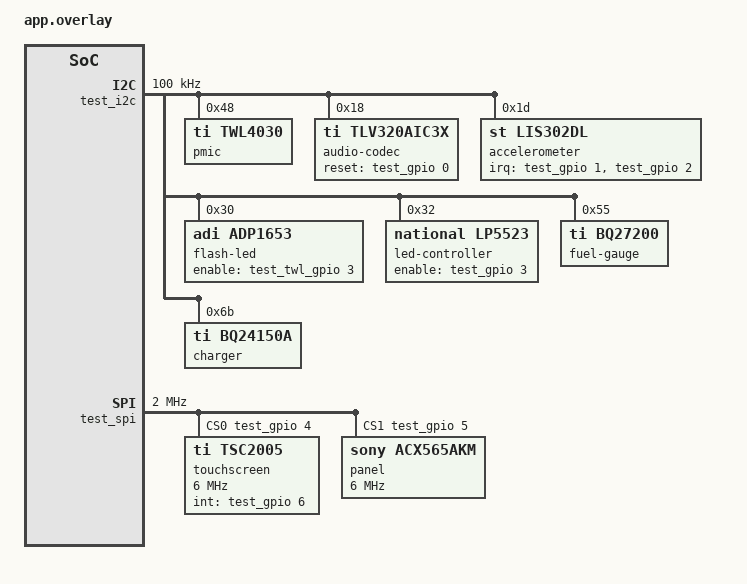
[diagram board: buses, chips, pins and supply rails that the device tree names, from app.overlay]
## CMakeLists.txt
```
# Copyright The Zephyr Project Contributors
# SPDX-License-Identifier: Apache-2.0

cmake_minimum_required(VERSION 3.20.0)
find_package(Zephyr REQUIRED HINTS $ENV{ZEPHYR_BASE})
project(n900_build_all)

target_sources(app PRIVATE src/main.c)
```

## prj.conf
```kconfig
CONFIG_TEST=y
CONFIG_GPIO=y
CONFIG_I2C=y
CONFIG_SPI=y
CONFIG_SENSOR=y
CONFIG_LED=y
CONFIG_DISPLAY=y
CONFIG_INPUT=y
CONFIG_CHARGER=y
CONFIG_FUEL_GAUGE=y
CONFIG_MFD=y
CONFIG_HAPTICS=y
CONFIG_AUDIO=y
CONFIG_AUDIO_CODEC=y
# Host SDL emulation is not under test
CONFIG_SDL_DISPLAY=n
CONFIG_INPUT_SDL_TOUCH=n
```

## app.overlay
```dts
/*
 * Copyright The Zephyr Project Contributors
 *
 * SPDX-License-Identifier: Apache-2.0
 *
 * Every board-independent driver of the module on fake buses, to build them.
 */

#include <zephyr/dt-bindings/input/input-event-codes.h>
#include <zephyr/dt-bindings/input/keymap.h>

/ {
	test {
		#address-cells = <1>;
		#size-cells = <1>;

		test_gpio: gpio@deadbeef {
			compatible = "vnd,gpio";
			gpio-controller;
			reg = <0xdeadbeef 0x1000>;
			#gpio-cells = <2>;
			status = "okay";
		};

		test_i2c: i2c@11112222 {
			compatible = "vnd,i2c";
			reg = <0x11112222 0x1000>;
			#address-cells = <1>;
			#size-cells = <0>;
			clock-frequency = <100000>;
			status = "okay";

			pmic@48 {
				compatible = "ti,twl4030";
				reg = <0x48>;

				keypad {
					compatible = "ti,twl4030-keypad";
					row-size = <2>;
					col-size = <2>;

					keymap {
						compatible = "input-keymap";
						row-size = <2>;
						col-size = <2>;
						keymap = <MATRIX_KEY(0, 0, INPUT_KEY_A)
							  MATRIX_KEY(1, 1, INPUT_KEY_B)>;
					};
				};

				power-button {
					compatible = "ti,twl4030-pwrbutton";
				};

				test_twl_gpio: gpio {
					compatible = "ti,twl4030-gpio";
					gpio-controller;
					#gpio-cells = <2>;
					ngpios = <18>;
				};

				vibrator {
					compatible = "ti,twl4030-vibra";
				};
			};

			audio-codec@18 {
				compatible = "ti,tlv320aic3x";
				reg = <0x18>;
				reset-gpios = <&test_gpio 0 0>;
				hp-out;
				line-out;
			};

			accelerometer@1d {
				compatible = "st,lis302dl";
				reg = <0x1d>;
				irq-gpios = <&test_gpio 1 0>, <&test_gpio 2 0>;
			};

			flash-led@30 {
				compatible = "adi,adp1653";
				reg = <0x30>;
				enable-gpios = <&test_twl_gpio 3 0>;
				torch-max-microamp = <50000>;
				flash-max-microamp = <320000>;
			};

			led-controller@32 {
				compatible = "national,lp5523";
				reg = <0x32>;
				enable-gpios = <&test_gpio 3 0>;
				current-microamp = <5000>;
			};

			fuel-gauge@55 {
				compatible = "ti,bq27200";
				reg = <0x55>;
			};

			charger@6b {
				compatible = "ti,bq24150a";
				reg = <0x6b>;
				constant-charge-current-max-microamp = <650000>;
				constant-charge-voltage-max-microvolt = <4200000>;
				charge-term-current-microamp = <100000>;
				ti,sense-resistor-micro-ohms = <68000>;
			};
		};

		test_spi: spi@33334444 {
			compatible = "vnd,spi";
			reg = <0x33334444 0x1000>;
			#address-cells = <1>;
			#size-cells = <0>;
			clock-frequency = <2000000>;
			cs-gpios = <&test_gpio 4 0>, <&test_gpio 5 0>;
			status = "okay";

			touchscreen@0 {
				compatible = "ti,tsc2005";
				reg = <0>;
				spi-max-frequency = <6000000>;
				int-gpios = <&test_gpio 6 0>;
				screen-width = <800>;
				screen-height = <480>;
			};

			panel@1 {
				compatible = "sony,acx565akm";
				reg = <1>;
				spi-max-frequency = <6000000>;
			};
		};
	};
};
```

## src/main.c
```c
/*
 * Copyright The Zephyr Project Contributors
 *
 * SPDX-License-Identifier: Apache-2.0
 */

int main(void)
{
	return 0;
}
```
